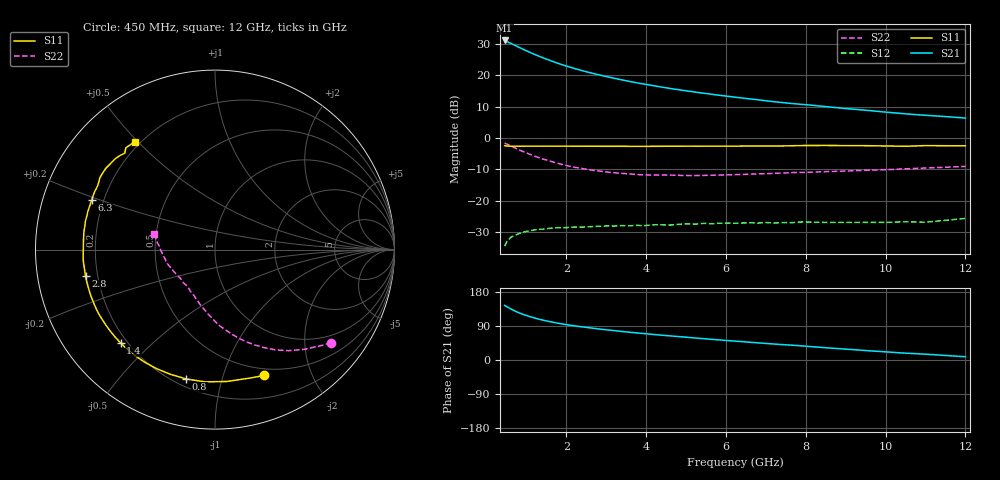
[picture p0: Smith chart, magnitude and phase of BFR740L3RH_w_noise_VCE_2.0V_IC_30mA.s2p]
! Infineon Technologies  Discrete & RF Semiconductors
! BFR740L3RH
! VCE =  2.0 V,  IC =  30 mA
! Common Emitter S-Parameters:  May 2012
# GHz  S  MA  R  50
!  f  S11  S21  S12  S22
! GHz  MAG  ANG  MAG  ANG  MAG  ANG  MAG  ANG
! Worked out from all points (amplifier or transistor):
!   85 points, 450 MHz to 12 GHz, reference 50 ohm
!   highest |S21| = 31.1 dB at 450 MHz (marker M1)
!   |S21| within 3 dB of that: start of sweep to 946.2 MHz
!   unconditionally stable (mu >= 1): 5.593 GHz to end of sweep
!   at 1.8 GHz: K = 0.33, MSG = 26.2 dB, |S12| = -28.7 dB
!   at 4.6 GHz: K = 0.85, MSG = 21.8 dB, |S12| = -27.8 dB
!   at 12 GHz: K = 1.93, MAG = 10.5 dB, |S12| = -25.7 dB
!   lowest NFmin = 1.19 dB at 450 MHz
!   S11 on the Smith chart (normalised r, x): 450 MHz: 0.42, -1.37; 800 MHz: 0.24, -0.77; 1.4 GHz: 0.17, -0.40; 2.8 GHz: 0.15, -0.10; 6.3 GHz: 0.15, +0.19; 12 GHz: 0.18, +0.49
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0.45  0.7522 -68.8  36 144.1  0.0187 53.3  0.8294 -38.7
0.5  0.7426 -74.2  34.76 141.0  0.0217 51.9  0.8002 -41.8
0.6  0.7377 -84.8  32.48 135.0  0.0258 49.4  0.7466 -48.1
0.7  0.739 -94.3  30.28 129.7  0.0277 46.4  0.6971 -53.9
0.8  0.7383 -102.5  28.19 125.0  0.0295 43.5  0.6518 -59.0
0.9  0.7379 -109.7  26.29 120.9  0.0311 40.9  0.6107 -63.4
1  0.7387 -116.1  24.57 117.3  0.0322 38.0  0.5743 -67.5
1.1  0.7396 -121.8  23.02 114.0  0.0331 35.6  0.542 -71.3
1.2  0.7397 -126.7  21.62 110.9  0.0341 33.8  0.5128 -74.8
1.4  0.7398 -135.3  19.16 105.5  0.0349 30.2  0.4631 -80.9
1.6  0.7395 -142.4  17.16 100.9  0.0362 28.4  0.424 -86.6
1.9  0.7401 -151.1  14.72 95.0  0.0368 26.0  0.3753 -93.6
2.1  0.7385 -155.8  13.42 91.7  0.0375 23.0  0.3516 -97.8
2.4  0.7374 -161.7  11.83 87.4  0.0377 23.1  0.3239 -103.7
2.8  0.7365 -168.4  10.22 82.1  0.0388 22.1  0.2967 -110.1
3.6  0.7342 -178.9  7.943 73.1  0.0395 21.2  0.2655 -122.2
4.3  0.7354 174.2  6.619 66.3  0.0412 21.2  0.2551 -130.2
5.2  0.7384 166.2  5.428 58.3  0.0421 21.5  0.2505 -140.9
6.3  0.7402 158.1  4.416 49.2  0.0436 21.3  0.2597 -152.1
8.5  0.7586 143.4  3.164 32.3  0.0447 22.3  0.2897 -172.9
10.5  0.7358 133.1  2.426 18.0  0.0459 25.3  0.3213 174.0
12  0.7487 126.8  2.076 8.6  0.0519 33.8  0.3513 165.7
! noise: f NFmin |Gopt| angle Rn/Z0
0.45  1.19  0.09  178  0.12
0.9  1.19  0.1  173  0.11
1.5  1.21  0.11  167  0.11
1.9  1.22  0.12  164  0.11
2.4  1.24  0.14  164  0.11
3.5  1.3  0.16  166  0.11
5.5  1.44  0.22  170  0.1
8  1.66  0.29  -172  0.11
10  1.85  0.31  -156  0.13
12  2.05  0.37  -136  0.19
